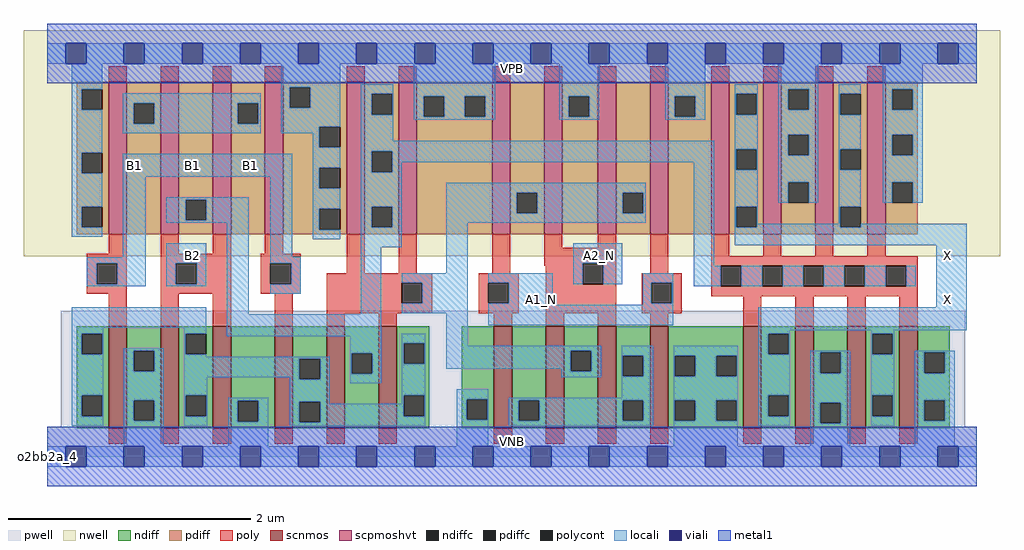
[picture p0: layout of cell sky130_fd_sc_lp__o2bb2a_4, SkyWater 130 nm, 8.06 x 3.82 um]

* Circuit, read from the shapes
.subckt sky130_fd_sc_lp__o2bb2a_4 A1_N A2_N B1 B2 VGND VNB VPB VPWR X
XM1 VGND B1 n1 VNB sky130_fd_pr__nfet_01v8 w=0.84 l=0.15 m=2
XM2 n1 B2 VGND VNB sky130_fd_pr__nfet_01v8 w=0.84 l=0.15 m=2
XM3 n2 n3 n1 VNB sky130_fd_pr__nfet_01v8 w=0.84 l=0.15 m=2
XM4 n4 A1_N VGND VNB sky130_fd_pr__nfet_01v8 w=0.84 l=0.15 m=2
XM5 n3 A2_N n4 VNB sky130_fd_pr__nfet_01v8 w=0.84 l=0.15 m=2
XM6 X n2 VGND VNB sky130_fd_pr__nfet_01v8 w=0.84 l=0.15 m=4
XM7 n5 B1 VPWR VPB sky130_fd_pr__pfet_01v8_hvt w=1.26 l=0.15 m=2
XM8 n2 B2 n5 VPB sky130_fd_pr__pfet_01v8_hvt w=1.26 l=0.15 m=2
XM9 n2 n3 VPWR VPB sky130_fd_pr__pfet_01v8_hvt w=1.26 l=0.15 m=2
XM10 n3 A1_N VPWR VPB sky130_fd_pr__pfet_01v8_hvt w=1.26 l=0.15 m=2
XM11 VPWR A2_N n3 VPB sky130_fd_pr__pfet_01v8_hvt w=1.26 l=0.15 m=2
XM12 X n2 VPWR VPB sky130_fd_pr__pfet_01v8_hvt w=1.26 l=0.15 m=4
.ends

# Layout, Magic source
magic
tech sky130A
magscale 1 2
<< nwell >>
rect -38 331 1574 704
<< pwell >>
rect 23 49 1517 241
rect 0 0 1536 49
<< scnmos >>
rect 102 47 132 215
rect 188 47 218 215
rect 274 47 304 215
rect 376 47 406 215
rect 462 47 492 215
rect 548 47 578 215
rect 738 47 768 215
rect 824 47 854 215
rect 910 47 940 215
rect 996 47 1026 215
rect 1150 47 1180 215
rect 1236 47 1266 215
rect 1322 47 1352 215
rect 1408 47 1438 215
<< scpmoshvt >>
rect 102 367 132 619
rect 188 367 218 619
rect 274 367 304 619
rect 360 367 390 619
rect 495 367 525 619
rect 581 367 611 619
rect 735 367 765 619
rect 821 367 851 619
rect 910 367 940 619
rect 996 367 1026 619
rect 1097 367 1127 619
rect 1183 367 1213 619
rect 1269 367 1299 619
rect 1355 367 1385 619
<< ndiff >>
rect 49 203 102 215
rect 49 169 57 203
rect 91 169 102 203
rect 49 101 102 169
rect 49 67 57 101
rect 91 67 102 101
rect 49 47 102 67
rect 132 175 188 215
rect 132 141 143 175
rect 177 141 188 175
rect 132 93 188 141
rect 132 59 143 93
rect 177 59 188 93
rect 132 47 188 59
rect 218 203 274 215
rect 218 169 229 203
rect 263 169 274 203
rect 218 101 274 169
rect 218 67 229 101
rect 263 67 274 101
rect 218 47 274 67
rect 304 92 376 215
rect 304 58 315 92
rect 349 58 376 92
rect 304 47 376 58
rect 406 162 462 215
rect 406 128 417 162
rect 451 128 462 162
rect 406 91 462 128
rect 406 57 417 91
rect 451 57 462 91
rect 406 47 462 57
rect 492 171 548 215
rect 492 137 503 171
rect 537 137 548 171
rect 492 47 548 137
rect 578 187 631 215
rect 578 153 589 187
rect 623 153 631 187
rect 578 101 631 153
rect 578 67 589 101
rect 623 67 631 101
rect 578 47 631 67
rect 685 95 738 215
rect 685 61 693 95
rect 727 61 738 95
rect 685 47 738 61
rect 768 93 824 215
rect 768 59 779 93
rect 813 59 824 93
rect 768 47 824 59
rect 854 175 910 215
rect 854 141 865 175
rect 899 141 910 175
rect 854 47 910 141
rect 940 167 996 215
rect 940 133 951 167
rect 985 133 996 167
rect 940 93 996 133
rect 940 59 951 93
rect 985 59 996 93
rect 940 47 996 59
rect 1026 167 1150 215
rect 1026 133 1037 167
rect 1071 133 1105 167
rect 1139 133 1150 167
rect 1026 93 1150 133
rect 1026 59 1037 93
rect 1071 59 1105 93
rect 1139 59 1150 93
rect 1026 47 1150 59
rect 1180 203 1236 215
rect 1180 169 1191 203
rect 1225 169 1236 203
rect 1180 101 1236 169
rect 1180 67 1191 101
rect 1225 67 1236 101
rect 1180 47 1236 67
rect 1266 172 1322 215
rect 1266 138 1277 172
rect 1311 138 1322 172
rect 1266 89 1322 138
rect 1266 55 1277 89
rect 1311 55 1322 89
rect 1266 47 1322 55
rect 1352 203 1408 215
rect 1352 169 1363 203
rect 1397 169 1408 203
rect 1352 101 1408 169
rect 1352 67 1363 101
rect 1397 67 1408 101
rect 1352 47 1408 67
rect 1438 172 1491 215
rect 1438 138 1449 172
rect 1483 138 1491 172
rect 1438 93 1491 138
rect 1438 59 1449 93
rect 1483 59 1491 93
rect 1438 47 1491 59
<< pdiff >>
rect 49 607 102 619
rect 49 573 57 607
rect 91 573 102 607
rect 49 502 102 573
rect 49 468 57 502
rect 91 468 102 502
rect 49 413 102 468
rect 49 379 57 413
rect 91 379 102 413
rect 49 367 102 379
rect 132 584 188 619
rect 132 550 143 584
rect 177 550 188 584
rect 132 367 188 550
rect 218 424 274 619
rect 218 390 229 424
rect 263 390 274 424
rect 218 367 274 390
rect 304 584 360 619
rect 304 550 315 584
rect 349 550 360 584
rect 304 367 360 550
rect 390 610 495 619
rect 390 576 401 610
rect 435 576 495 610
rect 390 545 495 576
rect 390 511 450 545
rect 484 511 495 545
rect 390 477 495 511
rect 390 443 450 477
rect 484 443 495 477
rect 390 409 495 443
rect 390 375 450 409
rect 484 375 495 409
rect 390 367 495 375
rect 525 599 581 619
rect 525 565 536 599
rect 570 565 581 599
rect 525 504 581 565
rect 525 470 536 504
rect 570 470 581 504
rect 525 413 581 470
rect 525 379 536 413
rect 570 379 581 413
rect 525 367 581 379
rect 611 595 735 619
rect 611 561 622 595
rect 656 561 690 595
rect 724 561 735 595
rect 611 367 735 561
rect 765 436 821 619
rect 765 402 776 436
rect 810 402 821 436
rect 765 367 821 402
rect 851 595 910 619
rect 851 561 862 595
rect 896 561 910 595
rect 851 367 910 561
rect 940 436 996 619
rect 940 402 951 436
rect 985 402 996 436
rect 940 367 996 402
rect 1026 595 1097 619
rect 1026 561 1037 595
rect 1071 561 1097 595
rect 1026 367 1097 561
rect 1127 599 1183 619
rect 1127 565 1138 599
rect 1172 565 1183 599
rect 1127 508 1183 565
rect 1127 474 1138 508
rect 1172 474 1183 508
rect 1127 413 1183 474
rect 1127 379 1138 413
rect 1172 379 1183 413
rect 1127 367 1183 379
rect 1213 607 1269 619
rect 1213 573 1224 607
rect 1258 573 1269 607
rect 1213 532 1269 573
rect 1213 498 1224 532
rect 1258 498 1269 532
rect 1213 453 1269 498
rect 1213 419 1224 453
rect 1258 419 1269 453
rect 1213 367 1269 419
rect 1299 599 1355 619
rect 1299 565 1310 599
rect 1344 565 1355 599
rect 1299 508 1355 565
rect 1299 474 1310 508
rect 1344 474 1355 508
rect 1299 413 1355 474
rect 1299 379 1310 413
rect 1344 379 1355 413
rect 1299 367 1355 379
rect 1385 607 1438 619
rect 1385 573 1396 607
rect 1430 573 1438 607
rect 1385 532 1438 573
rect 1385 498 1396 532
rect 1430 498 1438 532
rect 1385 453 1438 498
rect 1385 419 1396 453
rect 1430 419 1438 453
rect 1385 367 1438 419
<< ndiffc >>
rect 57 169 91 203
rect 57 67 91 101
rect 143 141 177 175
rect 143 59 177 93
rect 229 169 263 203
rect 229 67 263 101
rect 315 58 349 92
rect 417 128 451 162
rect 417 57 451 91
rect 503 137 537 171
rect 589 153 623 187
rect 589 67 623 101
rect 693 61 727 95
rect 779 59 813 93
rect 865 141 899 175
rect 951 133 985 167
rect 951 59 985 93
rect 1037 133 1071 167
rect 1105 133 1139 167
rect 1037 59 1071 93
rect 1105 59 1139 93
rect 1191 169 1225 203
rect 1191 67 1225 101
rect 1277 138 1311 172
rect 1277 55 1311 89
rect 1363 169 1397 203
rect 1363 67 1397 101
rect 1449 138 1483 172
rect 1449 59 1483 93
<< pdiffc >>
rect 57 573 91 607
rect 57 468 91 502
rect 57 379 91 413
rect 143 550 177 584
rect 229 390 263 424
rect 315 550 349 584
rect 401 576 435 610
rect 450 511 484 545
rect 450 443 484 477
rect 450 375 484 409
rect 536 565 570 599
rect 536 470 570 504
rect 536 379 570 413
rect 622 561 656 595
rect 690 561 724 595
rect 776 402 810 436
rect 862 561 896 595
rect 951 402 985 436
rect 1037 561 1071 595
rect 1138 565 1172 599
rect 1138 474 1172 508
rect 1138 379 1172 413
rect 1224 573 1258 607
rect 1224 498 1258 532
rect 1224 419 1258 453
rect 1310 565 1344 599
rect 1310 474 1344 508
rect 1310 379 1344 413
rect 1396 573 1430 607
rect 1396 498 1430 532
rect 1396 419 1430 453
<< poly >>
rect 102 619 132 645
rect 188 619 218 645
rect 274 619 304 645
rect 360 619 390 645
rect 495 619 525 645
rect 581 619 611 645
rect 735 619 765 645
rect 821 619 851 645
rect 910 619 940 645
rect 996 619 1026 645
rect 1097 619 1127 645
rect 1183 619 1213 645
rect 1269 619 1299 645
rect 1355 619 1385 645
rect 102 335 132 367
rect 66 319 132 335
rect 66 285 82 319
rect 116 285 132 319
rect 66 269 132 285
rect 102 215 132 269
rect 188 335 218 367
rect 274 335 304 367
rect 360 335 390 367
rect 188 319 304 335
rect 188 285 213 319
rect 247 285 304 319
rect 188 269 304 285
rect 353 319 419 335
rect 353 285 369 319
rect 403 285 419 319
rect 495 303 525 367
rect 581 303 611 367
rect 735 303 765 367
rect 821 345 851 367
rect 910 345 940 367
rect 821 319 940 345
rect 821 315 885 319
rect 353 269 419 285
rect 462 287 636 303
rect 188 215 218 269
rect 274 215 304 269
rect 376 215 406 269
rect 462 253 586 287
rect 620 253 636 287
rect 462 237 636 253
rect 713 287 779 303
rect 713 253 729 287
rect 763 253 779 287
rect 713 237 779 253
rect 824 285 885 315
rect 919 285 940 319
rect 996 303 1026 367
rect 1097 331 1127 367
rect 1183 331 1213 367
rect 1269 331 1299 367
rect 1355 331 1385 367
rect 1097 315 1438 331
rect 824 237 940 285
rect 982 287 1048 303
rect 982 253 998 287
rect 1032 253 1048 287
rect 1097 281 1113 315
rect 1147 281 1181 315
rect 1215 281 1249 315
rect 1283 281 1317 315
rect 1351 281 1385 315
rect 1419 281 1438 315
rect 1097 265 1438 281
rect 982 237 1048 253
rect 462 215 492 237
rect 548 215 578 237
rect 738 215 768 237
rect 824 215 854 237
rect 910 215 940 237
rect 996 215 1026 237
rect 1150 215 1180 265
rect 1236 215 1266 265
rect 1322 215 1352 265
rect 1408 215 1438 265
rect 102 21 132 47
rect 188 21 218 47
rect 274 21 304 47
rect 376 21 406 47
rect 462 21 492 47
rect 548 21 578 47
rect 738 21 768 47
rect 824 21 854 47
rect 910 21 940 47
rect 996 21 1026 47
rect 1150 21 1180 47
rect 1236 21 1266 47
rect 1322 21 1352 47
rect 1408 21 1438 47
<< polycont >>
rect 82 285 116 319
rect 213 285 247 319
rect 369 285 403 319
rect 586 253 620 287
rect 729 253 763 287
rect 885 285 919 319
rect 998 253 1032 287
rect 1113 281 1147 315
rect 1181 281 1215 315
rect 1249 281 1283 315
rect 1317 281 1351 315
rect 1385 281 1419 315
<< locali >>
rect 0 649 31 683
rect 65 649 127 683
rect 161 649 223 683
rect 257 649 319 683
rect 353 649 415 683
rect 449 649 511 683
rect 545 649 607 683
rect 641 649 703 683
rect 737 649 799 683
rect 833 649 895 683
rect 929 649 991 683
rect 1025 649 1087 683
rect 1121 649 1183 683
rect 1217 649 1279 683
rect 1313 649 1375 683
rect 1409 649 1471 683
rect 1505 649 1536 683
rect 41 607 91 649
rect 41 573 57 607
rect 387 610 484 649
rect 41 502 91 573
rect 125 584 353 600
rect 125 550 143 584
rect 177 550 315 584
rect 349 550 353 584
rect 125 534 353 550
rect 387 576 401 610
rect 435 576 484 610
rect 387 545 484 576
rect 387 534 450 545
rect 41 468 57 502
rect 439 511 450 534
rect 41 413 91 468
rect 41 379 57 413
rect 41 363 91 379
rect 125 462 405 500
rect 125 329 163 462
rect 197 424 333 428
rect 197 390 229 424
rect 263 390 333 424
rect 197 386 333 390
rect 66 319 163 329
rect 66 285 82 319
rect 116 285 163 319
rect 66 281 163 285
rect 197 319 263 352
rect 197 285 213 319
rect 247 285 263 319
rect 197 281 263 285
rect 41 213 263 247
rect 41 203 93 213
rect 41 169 57 203
rect 91 169 93 203
rect 227 203 263 213
rect 41 101 93 169
rect 41 67 57 101
rect 91 67 93 101
rect 41 51 93 67
rect 127 175 193 179
rect 127 141 143 175
rect 177 141 193 175
rect 127 93 193 141
rect 127 59 143 93
rect 177 59 193 93
rect 127 17 193 59
rect 227 169 229 203
rect 297 235 333 386
rect 369 330 405 462
rect 439 477 484 511
rect 439 443 450 477
rect 439 409 484 443
rect 439 375 450 409
rect 439 359 484 375
rect 518 599 572 615
rect 518 565 536 599
rect 570 565 572 599
rect 518 522 572 565
rect 606 595 740 649
rect 606 561 622 595
rect 656 561 690 595
rect 724 561 740 595
rect 606 556 740 561
rect 846 595 912 649
rect 846 561 862 595
rect 896 561 912 595
rect 846 556 912 561
rect 1021 595 1087 649
rect 1021 561 1037 595
rect 1071 561 1087 595
rect 1021 556 1087 561
rect 1136 599 1174 615
rect 1136 565 1138 599
rect 1172 565 1174 599
rect 518 504 1102 522
rect 518 470 536 504
rect 570 486 1102 504
rect 570 470 586 486
rect 518 413 586 470
rect 518 379 536 413
rect 570 379 586 413
rect 518 346 586 379
rect 659 436 989 452
rect 659 402 776 436
rect 810 402 951 436
rect 985 402 989 436
rect 659 386 989 402
rect 369 319 419 330
rect 403 285 419 319
rect 369 269 419 285
rect 518 235 552 346
rect 659 303 695 386
rect 869 319 950 352
rect 586 287 695 303
rect 620 253 695 287
rect 586 237 695 253
rect 297 199 552 235
rect 227 165 263 169
rect 501 171 552 199
rect 227 162 467 165
rect 227 131 417 162
rect 227 101 265 131
rect 227 67 229 101
rect 263 67 265 101
rect 401 128 417 131
rect 451 128 467 162
rect 227 51 265 67
rect 299 92 365 97
rect 299 58 315 92
rect 349 58 365 92
rect 299 17 365 58
rect 401 91 467 128
rect 501 137 503 171
rect 537 137 552 171
rect 501 121 552 137
rect 586 187 625 203
rect 586 153 589 187
rect 623 153 625 187
rect 401 57 417 91
rect 451 87 467 91
rect 586 101 625 153
rect 659 183 695 237
rect 729 287 835 303
rect 763 253 835 287
rect 869 285 885 319
rect 919 285 950 319
rect 1068 315 1102 486
rect 1136 508 1174 565
rect 1136 474 1138 508
rect 1172 474 1174 508
rect 1136 413 1174 474
rect 1208 607 1274 649
rect 1208 573 1224 607
rect 1258 573 1274 607
rect 1208 532 1274 573
rect 1208 498 1224 532
rect 1258 498 1274 532
rect 1208 453 1274 498
rect 1208 419 1224 453
rect 1258 419 1274 453
rect 1308 599 1344 615
rect 1308 565 1310 599
rect 1308 508 1344 565
rect 1308 474 1310 508
rect 1136 379 1138 413
rect 1172 385 1174 413
rect 1308 413 1344 474
rect 1380 607 1446 649
rect 1380 573 1396 607
rect 1430 573 1446 607
rect 1380 532 1446 573
rect 1380 498 1396 532
rect 1430 498 1446 532
rect 1380 453 1446 498
rect 1380 419 1396 453
rect 1430 419 1446 453
rect 1308 385 1310 413
rect 1172 379 1310 385
rect 1344 379 1519 385
rect 1136 349 1519 379
rect 984 287 1034 303
rect 729 251 835 253
rect 984 253 998 287
rect 1032 253 1034 287
rect 1068 281 1113 315
rect 1147 281 1181 315
rect 1215 281 1249 315
rect 1283 281 1317 315
rect 1351 281 1385 315
rect 1419 281 1435 315
rect 984 251 1034 253
rect 729 217 1034 251
rect 1469 247 1519 349
rect 1175 209 1519 247
rect 1175 203 1227 209
rect 659 175 915 183
rect 659 145 865 175
rect 849 141 865 145
rect 899 141 915 175
rect 849 131 915 141
rect 949 167 1001 183
rect 949 133 951 167
rect 985 133 1001 167
rect 586 87 589 101
rect 451 67 589 87
rect 623 67 625 101
rect 451 57 625 67
rect 401 51 625 57
rect 677 95 729 111
rect 949 97 1001 133
rect 677 61 693 95
rect 727 61 729 95
rect 677 17 729 61
rect 763 93 1001 97
rect 763 59 779 93
rect 813 59 951 93
rect 985 59 1001 93
rect 763 51 1001 59
rect 1035 167 1141 183
rect 1035 133 1037 167
rect 1071 133 1105 167
rect 1139 133 1141 167
rect 1035 93 1141 133
rect 1035 59 1037 93
rect 1071 59 1105 93
rect 1139 59 1141 93
rect 1035 17 1141 59
rect 1175 169 1191 203
rect 1225 169 1227 203
rect 1361 203 1399 209
rect 1175 101 1227 169
rect 1175 67 1191 101
rect 1225 67 1227 101
rect 1175 51 1227 67
rect 1261 172 1327 175
rect 1261 138 1277 172
rect 1311 138 1327 172
rect 1261 89 1327 138
rect 1261 55 1277 89
rect 1311 55 1327 89
rect 1261 17 1327 55
rect 1361 169 1363 203
rect 1397 169 1399 203
rect 1361 101 1399 169
rect 1361 67 1363 101
rect 1397 67 1399 101
rect 1361 51 1399 67
rect 1433 172 1499 175
rect 1433 138 1449 172
rect 1483 138 1499 172
rect 1433 93 1499 138
rect 1433 59 1449 93
rect 1483 59 1499 93
rect 1433 17 1499 59
rect 0 -17 31 17
rect 65 -17 127 17
rect 161 -17 223 17
rect 257 -17 319 17
rect 353 -17 415 17
rect 449 -17 511 17
rect 545 -17 607 17
rect 641 -17 703 17
rect 737 -17 799 17
rect 833 -17 895 17
rect 929 -17 991 17
rect 1025 -17 1087 17
rect 1121 -17 1183 17
rect 1217 -17 1279 17
rect 1313 -17 1375 17
rect 1409 -17 1471 17
rect 1505 -17 1536 17
<< viali >>
rect 31 649 65 683
rect 127 649 161 683
rect 223 649 257 683
rect 319 649 353 683
rect 415 649 449 683
rect 511 649 545 683
rect 607 649 641 683
rect 703 649 737 683
rect 799 649 833 683
rect 895 649 929 683
rect 991 649 1025 683
rect 1087 649 1121 683
rect 1183 649 1217 683
rect 1279 649 1313 683
rect 1375 649 1409 683
rect 1471 649 1505 683
rect 31 -17 65 17
rect 127 -17 161 17
rect 223 -17 257 17
rect 319 -17 353 17
rect 415 -17 449 17
rect 511 -17 545 17
rect 607 -17 641 17
rect 703 -17 737 17
rect 799 -17 833 17
rect 895 -17 929 17
rect 991 -17 1025 17
rect 1087 -17 1121 17
rect 1183 -17 1217 17
rect 1279 -17 1313 17
rect 1375 -17 1409 17
rect 1471 -17 1505 17
<< metal1 >>
rect 0 683 1536 715
rect 0 649 31 683
rect 65 649 127 683
rect 161 649 223 683
rect 257 649 319 683
rect 353 649 415 683
rect 449 649 511 683
rect 545 649 607 683
rect 641 649 703 683
rect 737 649 799 683
rect 833 649 895 683
rect 929 649 991 683
rect 1025 649 1087 683
rect 1121 649 1183 683
rect 1217 649 1279 683
rect 1313 649 1375 683
rect 1409 649 1471 683
rect 1505 649 1536 683
rect 0 617 1536 649
rect 0 17 1536 49
rect 0 -17 31 17
rect 65 -17 127 17
rect 161 -17 223 17
rect 257 -17 319 17
rect 353 -17 415 17
rect 449 -17 511 17
rect 545 -17 607 17
rect 641 -17 703 17
rect 737 -17 799 17
rect 833 -17 895 17
rect 929 -17 991 17
rect 1025 -17 1087 17
rect 1121 -17 1183 17
rect 1217 -17 1279 17
rect 1313 -17 1375 17
rect 1409 -17 1471 17
rect 1505 -17 1536 17
rect 0 -49 1536 -17
<< labels >>
flabel pwell s 0 0 1536 49 0 FreeSans 200 0 0 0 VNB
port 6 nsew ground bidirectional
flabel nwell s 0 617 1536 666 0 FreeSans 200 0 0 0 VPB
port 7 nsew power bidirectional
rlabel comment s 0 0 0 0 4 o2bb2a_4
flabel metal1 s 0 617 1536 666 0 FreeSans 340 0 0 0 VPWR
port 8 nsew power bidirectional
flabel metal1 s 0 0 1536 49 0 FreeSans 340 0 0 0 VGND
port 5 nsew ground bidirectional
flabel locali s 895 316 929 350 0 FreeSans 340 0 0 0 A2_N
port 2 nsew signal input
flabel locali s 127 464 161 498 0 FreeSans 340 0 0 0 B1
port 3 nsew signal input
flabel locali s 223 464 257 498 0 FreeSans 340 0 0 0 B1
port 3 nsew signal input
flabel locali s 319 464 353 498 0 FreeSans 340 0 0 0 B1
port 3 nsew signal input
flabel locali s 223 316 257 350 0 FreeSans 340 0 0 0 B2
port 4 nsew signal input
flabel locali s 1471 242 1505 276 0 FreeSans 340 0 0 0 X
port 9 nsew signal output
flabel locali s 1471 316 1505 350 0 FreeSans 340 0 0 0 X
port 9 nsew signal output
flabel locali s 799 242 833 276 0 FreeSans 340 0 0 0 A1_N
port 1 nsew signal input
<< properties >>
string LEFsite unit
string LEFclass CORE
string FIXED_BBOX 0 0 1536 666
string GDS_FILE $PDKPATH/libs.ref/sky130_fd_sc_lp/gds/sky130_fd_sc_lp.gds
string LEFsymmetry X Y R90
string GDS_END 3617080
string GDS_START 3604870
<< end >>
